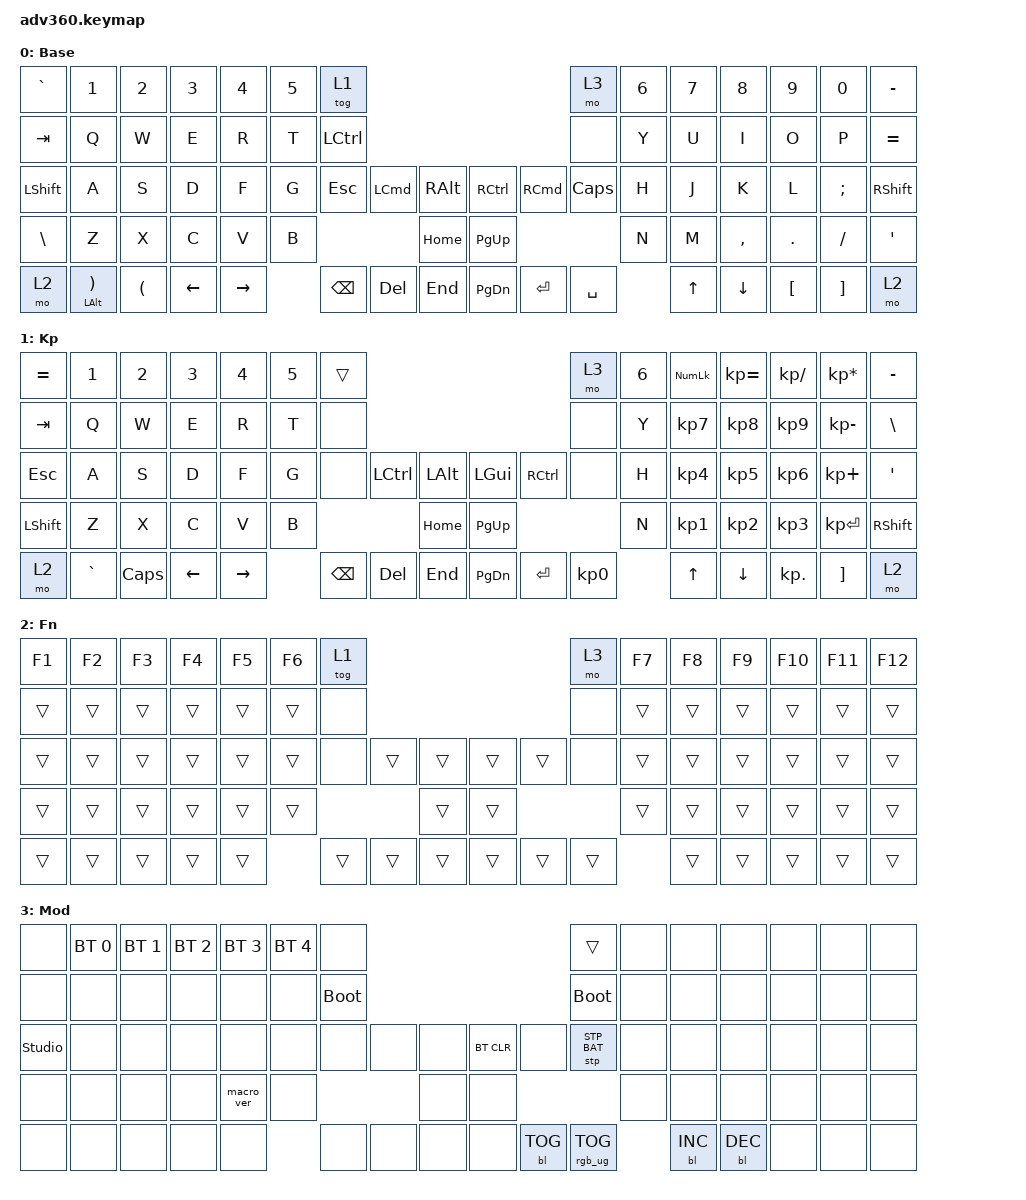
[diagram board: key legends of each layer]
#include <dt-bindings/zmk/stp.h>
#include <behaviors.dtsi>
#include <dt-bindings/zmk/backlight.h>
#include <dt-bindings/zmk/bt.h>
#include <dt-bindings/zmk/keys.h>
#include <dt-bindings/zmk/rgb.h>

/ {
    behaviors {
        #include "macros.dtsi"
      #include "version.dtsi"

        hm: homerow_mods {
            compatible = "zmk,behavior-hold-tap";
            label = "HOMEROW_MODS";
            #binding-cells = <2>;
            tapping-term-ms = <200>;
            quick_tap_ms = <175>;
            flavor = "tap-preferred";
            bindings = <&kp>, <&kp>;
        };

        v_paste: v_paste {
            compatible = "zmk,behavior-tap-dance";
            label = "V_PASTE";
            #binding-cells = <0>;
            bindings = <&kp V>, <&kp LG(V)>;
        };
    };

    combos {
        compatible = "zmk,combos";

        esc_combo {
            bindings = <&kp ESC>;
            key-positions = <31 32>;
            timeout-ms = <30>;
        };

        capslock_combo {
            bindings = <&kp CAPSLOCK>;
            key-positions = <41 42>;
            timeout-ms = <30>;
        };
    };

    keymap {
        compatible = "zmk,keymap";

        default_layer {
            display-name = "Base";
            bindings = <
&kp GRAVE       &kp N1                          &kp N2                &kp N3    &kp N4     &kp N5  &tog 1                                                                                       &mo 3         &kp N6  &kp N7  &kp N8     &kp N9    &kp N0    &kp MINUS
&kp TAB         &kp Q                           &kp W                 &kp E     &kp R      &kp T   &kp LEFT_CONTROL                                                                             &none         &kp Y   &kp U   &kp I      &kp O     &kp P     &kp EQUAL
&kp LEFT_SHIFT  &kp A                           &kp S                 &kp D     &kp F      &kp G   &kp ESC           &kp LEFT_COMMAND  &kp RIGHT_ALT      &kp RIGHT_CONTROL  &kp RIGHT_COMMAND  &kp CAPSLOCK  &kp H   &kp J   &kp K      &kp L     &kp SEMI  &kp RIGHT_SHIFT
&kp BACKSLASH   &kp Z                           &kp X                 &kp C     &kp V      &kp B                                       &kp HOME           &kp PG_UP                                           &kp N   &kp M   &kp COMMA  &kp DOT   &kp FSLH  &kp APOS
&mo 2           &mt LEFT_ALT RIGHT_PARENTHESIS  &kp LEFT_PARENTHESIS  &kp LEFT  &kp RIGHT          &kp BSPC          &kp DEL           &kp END            &kp PG_DN          &kp ENTER          &kp SPACE             &kp UP  &kp DOWN   &kp LBKT  &kp RBKT  &mo 2
            >;
        };

        keypad {
            display-name = "Kp";
            bindings = <
&kp EQUAL  &kp N1     &kp N2    &kp N3    &kp N4     &kp N5  &trans                                                   &mo 3      &kp N6  &kp KP_NUM  &kp KP_EQUAL  &kp KP_DIVIDE  &kp KP_MULTIPLY  &kp MINUS
&kp TAB    &kp Q      &kp W     &kp E     &kp R      &kp T   &none                                                    &none      &kp Y   &kp KP_N7   &kp KP_N8     &kp KP_N9      &kp KP_MINUS     &kp BSLH
&kp ESC    &kp A      &kp S     &kp D     &kp F      &kp G   &none     &kp LCTRL  &kp LALT      &kp LGUI   &kp RCTRL  &none      &kp H   &kp KP_N4   &kp KP_N5     &kp KP_N6      &kp KP_PLUS      &kp SQT
&kp LSHFT  &kp Z      &kp X     &kp C     &kp V      &kp B                        &kp HOME      &kp PG_UP                        &kp N   &kp KP_N1   &kp KP_N2     &kp KP_N3      &kp KP_ENTER     &kp RSHFT
&mo 2      &kp GRAVE  &kp CAPS  &kp LEFT  &kp RIGHT          &kp BSPC  &kp DEL    &kp END       &kp PG_DN  &kp ENTER  &kp KP_N0          &kp UP      &kp DOWN      &kp KP_DOT     &kp RBKT         &mo 2
            >;
        };

        fn {
            display-name = "Fn";
            bindings = <
&kp F1  &kp F2  &kp F3  &kp F4  &kp F5  &kp F6  &tog 1                                      &mo 3   &kp F7  &kp F8  &kp F9  &kp F10  &kp F11  &kp F12
&trans  &trans  &trans  &trans  &trans  &trans  &none                                       &none   &trans  &trans  &trans  &trans   &trans   &trans
&trans  &trans  &trans  &trans  &trans  &trans  &none   &trans  &trans      &trans  &trans  &none   &trans  &trans  &trans  &trans   &trans   &trans
&trans  &trans  &trans  &trans  &trans  &trans                  &trans      &trans                  &trans  &trans  &trans  &trans   &trans   &trans
&trans  &trans  &trans  &trans  &trans          &trans  &trans  &trans      &trans  &trans  &trans          &trans  &trans  &trans   &trans   &trans
            >;
        };

        mod {
            display-name = "Mod";
            bindings = <
&none           &bt BT_SEL 0  &bt BT_SEL 1  &bt BT_SEL 2  &bt BT_SEL 3  &bt BT_SEL 4  &none                                                  &trans           &none  &none       &none       &none  &none  &none
&none           &none         &none         &none         &none         &none         &bootloader                                            &bootloader      &none  &none       &none       &none  &none  &none
&studio_unlock  &none         &none         &none         &none         &none         &none        &none  &none      &bt BT_CLR  &none       &stp STP_BAT     &none  &none       &none       &none  &none  &none
&none           &none         &none         &none         &macro_ver    &none                             &none      &none                                    &none  &none       &none       &none  &none  &none
&none           &none         &none         &none         &none                       &none        &none  &none      &none       &bl BL_TOG  &rgb_ug RGB_TOG         &bl BL_INC  &bl BL_DEC  &none  &none  &none
            >;
        };

        extra1 {
            display-name = "Red";
            status = "reserved";
        };

        extra2 {
            display-name = "Purple";
            status = "reserved";
        };

        extra3 {
            display-name = "Cyan";
            status = "reserved";
        };

        extra4 {
            display-name = "Yellow";
            status = "reserved";
        };
    };
};
